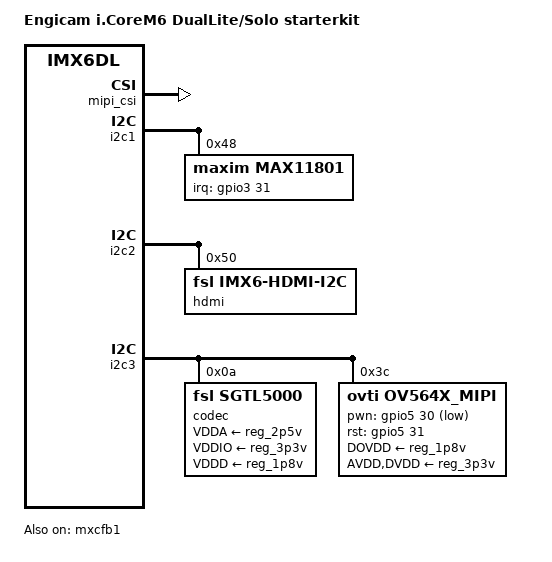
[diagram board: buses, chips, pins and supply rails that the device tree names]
/*
 * Copyright (C) 2013 Freescale Semiconductor, Inc.
 *
 * This program is free software; you can redistribute it and/or modify
 * it under the terms of the GNU General Public License version 2 as
 * published by the Free Software Foundation.
 */

/dts-v1/;

#include "imx6dl.dtsi"
#include "imx6qdl-icore.dtsi"

/ {
	model = "Engicam i.CoreM6 DualLite/Solo starterkit";
	compatible = "fsl,imx6-icore", "fsl,imx6dl";

	aliases {
		mmc0 = &usdhc1;
		mmc1 = &usdhc3;
		mmc2 = &usdhc2;
		mmc3 = &usdhc4;
	};
};


&ldb {
	ipu_id = <0>;
	sec_ipu_id = <0>;
};

&mipi_csi {
	status = "okay";
	ipu_id = <0>;
	csi_id = <0>;
	v_channel = <0>;
	lanes = <2>;
};


&mxcfb1 {
	status = "okay";
};

&mxcfb2 {
	status = "disabled";
};


&i2c1 {
	max11801@48 {
		compatible = "maxim,max11801";
		reg = <0x48>;
		interrupt-parent = <&gpio3>;
		interrupts = <31 2>;
		work-mode = <0>;/*DCM mode*/
	};
};

&i2c2 {

	hdmi: edid@50 {
		compatible = "fsl,imx6-hdmi-i2c";
		reg = <0x50>;
	};
};


&i2c3 {

	codec: sgtl5000@0a {
		compatible = "fsl,sgtl5000";
		reg = <0x0a>;
		clocks = <&clks 201>;
		VDDA-supply = <&reg_2p5v>;
		VDDIO-supply = <&reg_3p3v>;
		VDDD-supply = <&reg_1p8v>;
	};

	ov564x_mipi: ov564x_mipi@3c { /* i2c2 driver */
		compatible = "ovti,ov564x_mipi";
		reg = <0x3c>;
		clocks = <&clks 201>;
		clock-names = "csi_mclk";
		DOVDD-supply = <&reg_1p8v>; /* 1.8v */
		AVDD-supply = <&reg_3p3v>;  /* 3.3v */
		DVDD-supply = <&reg_3p3v>;  /* 3.3v*/
		pwn-gpios = <&gpio5 30 1>;   /* active low  */
		rst-gpios = <&gpio5 31 0>;   /* active high */
		csi_id = <0>;
		mclk = <24000000>;
		mclk_source = <0>;
	};
};


&iomuxc {
	pinctrl-names = "default";
	pinctrl-0 = <&pinctrl_hog>;

	hog {
		pinctrl_hog: hoggrp {
			fsl,pins = <
				MX6QDL_PAD_CSI0_DAT12__GPIO5_IO30 0x1f059
				MX6QDL_PAD_CSI0_DAT13__GPIO5_IO31 0x1f059
			>;
		};
	};
};

